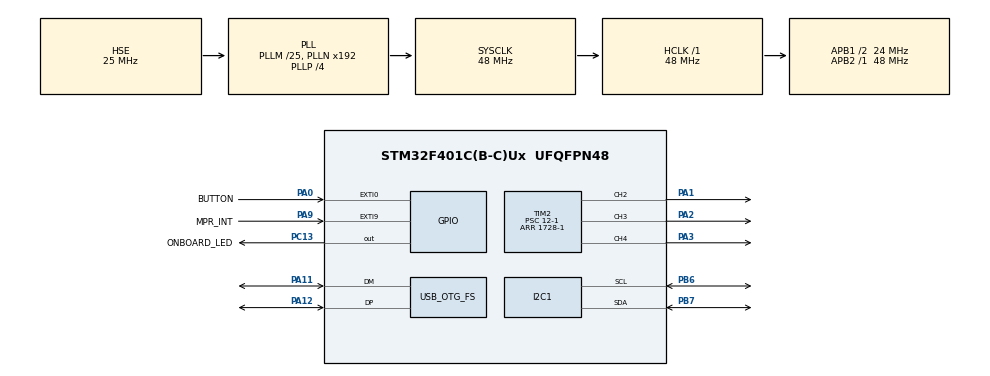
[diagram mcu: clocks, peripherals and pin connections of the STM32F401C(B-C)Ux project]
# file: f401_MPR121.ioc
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I2C1.I2C_Mode=I2C_Fast
Mcu.Family=STM32F4
Mcu.Name=STM32F401C(B-C)Ux
Mcu.Package=UFQFPN48
NVIC.EXTI0_IRQn=true\:0\:0\:false\:false\:true\:true\:true\:true
NVIC.EXTI9_5_IRQn=true\:0\:0\:false\:false\:true\:true\:true\:true
NVIC.I2C1_ER_IRQn=true\:0\:0\:false\:false\:true\:true\:true\:true
NVIC.I2C1_EV_IRQn=true\:0\:0\:false\:false\:true\:true\:true\:true
NVIC.OTG_FS_IRQn=true\:0\:0\:false\:false\:true\:true\:true\:true
NVIC.PriorityGroup=NVIC_PRIORITYGROUP_4
NVIC.TIM1_TRG_COM_TIM11_IRQn=true\:15\:0\:false\:false\:true\:false\:true\:true
NVIC.TIM2_IRQn=true\:0\:0\:false\:false\:true\:true\:true\:true
NVIC.TimeBase=TIM1_TRG_COM_TIM11_IRQn
NVIC.TimeBaseIP=TIM11
PA0-WKUP.GPIO_Label=BUTTON
PA0-WKUP.GPIO_ModeDefaultEXTI=GPIO_MODE_IT_FALLING
PA0-WKUP.GPIO_PuPd=GPIO_PULLUP
PA0-WKUP.Signal=GPXTI0
PA1.Signal=S_TIM2_CH2
PA11.Mode=Device_Only
PA11.Signal=USB_OTG_FS_DM
PA12.Mode=Device_Only
PA12.Signal=USB_OTG_FS_DP
PA2.Signal=S_TIM2_CH3
PA3.Signal=S_TIM2_CH4
PA9.GPIO_Label=MPR_INT
PA9.GPIO_ModeDefaultEXTI=GPIO_MODE_IT_FALLING
PA9.Signal=GPXTI9
PB6.Mode=I2C
PB6.Signal=I2C1_SCL
PB7.Mode=I2C
PB7.Signal=I2C1_SDA
PC13-ANTI_TAMP.GPIO_Label=ONBOARD_LED
PC13-ANTI_TAMP.Signal=GPIO_Output
PC14-OSC32_IN.Mode=LSE-External-Oscillator
PC14-OSC32_IN.Signal=RCC_OSC32_IN
PC15-OSC32_OUT.Mode=LSE-External-Oscillator
PC15-OSC32_OUT.Signal=RCC_OSC32_OUT
PH0\ -\ OSC_IN.Mode=HSE-External-Oscillator
PH0\ -\ OSC_IN.Signal=RCC_OSC_IN
PH1\ -\ OSC_OUT.Mode=HSE-External-Oscillator
PH1\ -\ OSC_OUT.Signal=RCC_OSC_OUT
ProjectManager.HeapSize=0x200
ProjectManager.StackSize=0x400
ProjectManager.TargetToolchain=STM32CubeIDE
RCC.48MHZClocksFreq_Value=48000000
RCC.AHBFreq_Value=48000000
RCC.APB1CLKDivider=RCC_HCLK_DIV2
RCC.APB1Freq_Value=24000000
RCC.APB1TimFreq_Value=48000000
RCC.APB2Freq_Value=48000000
RCC.APB2TimFreq_Value=48000000
RCC.CortexFreq_Value=48000000
RCC.HCLKFreq_Value=48000000
RCC.HSE_VALUE=25000000
RCC.HSI_VALUE=16000000
RCC.PLLM=25
RCC.PLLP=RCC_PLLP_DIV4
RCC.SYSCLKFreq_VALUE=48000000
RCC.SYSCLKSource=RCC_SYSCLKSOURCE_PLLCLK
RCC.VCOOutputFreq_Value=192000000
SH.S_TIM2_CH2.0=TIM2_CH2,PWM Generation2 CH2
SH.S_TIM2_CH3.0=TIM2_CH3,PWM Generation3 CH3
SH.S_TIM2_CH4.0=TIM2_CH4,PWM Generation4 CH4
TIM2.Channel-PWM\ Generation2\ CH2=TIM_CHANNEL_2
TIM2.Channel-PWM\ Generation3\ CH3=TIM_CHANNEL_3
TIM2.Channel-PWM\ Generation4\ CH4=TIM_CHANNEL_4
TIM2.Period=1728-1
TIM2.Prescaler=12-1
TIM2.Pulse-PWM\ Generation2\ CH2=500
USB_DEVICE.CLASS_NAME_FS=CDC
USB_DEVICE.PRODUCT_STRING_CDC_FS=STM32 VCP 
USB_DEVICE.VirtualMode=Cdc
USB_DEVICE.VirtualModeFS=Cdc_FS
USB_OTG_FS.VirtualMode=Device_Only
VP_SYS_VS_tim11.Mode=TIM11
VP_TIM2_VS_ClockSourceINT.Mode=Internal
VP_USB_DEVICE_VS_USB_DEVICE_CDC_FS.Mode=CDC_FS
board=custom

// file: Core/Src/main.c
/* USER CODE BEGIN Header */
/**
  ******************************************************************************
  * @file           : main.c
  * @brief          : Main program body
  ******************************************************************************
  * @attention
  *
  * Copyright (c) 2022 STMicroelectronics.
  * All rights reserved.
  *
  * This software is licensed under terms that can be found in the LICENSE file
  * in the root directory of this software component.
  * If no LICENSE file comes with this software, it is provided AS-IS.
  *
  ******************************************************************************
  */
/* USER CODE END Header */
#include "main.h"
#include "usb_device.h"

/* USER CODE BEGIN Includes */
#include "usbd_cdc_if.h"
#include <stdio.h>
#include <string.h>
#include "MPR121.h"
/* USER CODE END Includes */

/* USER CODE BEGIN PD */
#define BYTE_TO_BINARY_PATTERN "%c%c%c%c%c%c%c%c"
#define BYTE_TO_BINARY(byte)  \
  (byte & 0x80 ? '1' : '0'), \
  (byte & 0x40 ? '1' : '0'), \
  (byte & 0x20 ? '1' : '0'), \
  (byte & 0x10 ? '1' : '0'), \
  (byte & 0x08 ? '1' : '0'), \
  (byte & 0x04 ? '1' : '0'), \
  (byte & 0x02 ? '1' : '0'), \
  (byte & 0x01 ? '1' : '0')

#define UINT16_T_TO_BINARY_PATTERN "%c%c%c%c%c%c%c%c%c%c%c%c%c%c%c%c"
#define UINT16_T_TO_BINARY(byte)  \
  (byte & 0x8000 ? '1' : '0'), \
  (byte & 0x4000 ? '1' : '0'), \
  (byte & 0x2000 ? '1' : '0'), \
  (byte & 0x1000 ? '1' : '0'), \
  (byte & 0x0800 ? '1' : '0'), \
  (byte & 0x0400 ? '1' : '0'), \
  (byte & 0x0200 ? '1' : '0'), \
  (byte & 0x0100 ? '1' : '0'),  \
  (byte & 0x0080 ? '1' : '0'), \
  (byte & 0x0040 ? '1' : '0'), \
  (byte & 0x0020 ? '1' : '0'), \
  (byte & 0x0010 ? '1' : '0'), \
  (byte & 0x0008 ? '1' : '0'), \
  (byte & 0x0004 ? '1' : '0'), \
  (byte & 0x0002 ? '1' : '0'), \
  (byte & 0x0001 ? '1' : '0')

#define TIME_OF_HOLD 600
/* USER CODE END PD */

I2C_HandleTypeDef hi2c1;

TIM_HandleTypeDef htim2;

/* USER CODE BEGIN PV */
enum {
	MODE_OFF,
	MODE_PULSE,
	MODE_STATIC,
	MODE_WHITE,
	MODE_SET_BRIGHTNESS
}modes;
uint8_t click = 0, double_click = 0, hold = 0;
volatile reset_mpr = 0;
/* USER CODE END PV */

void SystemClock_Config(void);
static void MX_GPIO_Init(void);
static void MX_I2C1_Init(void);
static void MX_TIM2_Init(void);
/* USER CODE BEGIN PFP */
int __io_putchar(int ch)
{
	ITM_SendChar(ch);
	return(ch);
}

int _write(int file, char *ptr, int len)
 {
	int DataIdx;
	for (DataIdx = 0; DataIdx < len; DataIdx++)
	{
		__io_putchar(*ptr++);
	}
	return len;
 }

void read_buttons();
/* USER CODE END PFP */

int main(void)
{

  /* MCU Configuration--------------------------------------------------------*/

  /* Reset of all peripherals, Initializes the Flash interface and the Systick. */
  HAL_Init();

  /* Configure the system clock */
  SystemClock_Config();

  /* Initialize all configured peripherals */
  MX_GPIO_Init();
  MX_I2C1_Init();
  MX_USB_DEVICE_Init();
  MX_TIM2_Init();
  /* USER CODE BEGIN 2 */
  HAL_TIM_Base_Start(&htim2);
  TIM2 -> CCR2 = 900;
  HAL_TIM_PWM_Start(&htim2, TIM_CHANNEL_2);
  HAL_TIM_PWM_Start(&htim2, TIM_CHANNEL_3);
  HAL_TIM_PWM_Start(&htim2, TIM_CHANNEL_4);

  char usb_buff[48] = "\r\n=====Start MPR121=======\r\n";
  CDC_Transmit_FS(usb_buff, strlen(usb_buff));
  //printf(usb_buff);
  MPR121_init();
  /* USER CODE END 2 */

  /* Infinite loop */
  while (1)
  {

    /* USER CODE BEGIN 3 */
	  static uint16_t pwm_status = 0; //Brightness of red led (channel 2, PA1) to pulse mode of LED
	  static uint32_t timer_usb_write = 0,  timer_pwm = 0;
	  static uint8_t mode = 0;//mode of LED
	  if (reset_mpr == 1){
		  reset_mpr = 0;
		  MPR121_reset();
		  char res_buff = "Reset the module\r\n";
		  CDC_Transmit_FS(res_buff, sizeof(res_buff));
		  HAL_Delay(5);
		  MPR121_init();
	  }
	  read_buttons();

	  /*=====Choose of led's mode======*/
	  switch(mode){
		  case MODE_OFF: {
			  /*=====OFF all leds===*/
			  TIM2->CCR2 = 0;
			  TIM2->CCR3 = 0;
			  TIM2->CCR4 = 0;
			  HAL_GPIO_WritePin(GPIOA, GPIO_PIN_1 | GPIO_PIN_2 | GPIO_PIN_3, GPIO_PIN_RESET);
		  }break;
		  case MODE_PULSE:{
			  /*=====Pulse of red led (PA1)=====*/
			  if(HAL_GetTick() - timer_pwm > 5){
		  			  if(++pwm_status > 1728) pwm_status = 0;
		  			  TIM2 -> CCR2 = pwm_status;
		  			  timer_pwm = HAL_GetTick();
			  }
		  }break;
		  case MODE_STATIC:{
			  /*=====On pink color=======*/
			  TIM2->CCR2 = 1200;
			  TIM2->CCR3 = 1700;
			  TIM2->CCR4 = 0;
		  }break;
		  case MODE_WHITE:{
			  /*=====On all leds without PWM=====*/
			  TIM2->CCR2 = 1727;
			  TIM2->CCR3 = 1727;
			  TIM2->CCR4 = 1727;
			  //HAL_GPIO_WritePin(GPIOA, GPIO_PIN_1 | GPIO_PIN_2 | GPIO_PIN_3, GPIO_PIN_SET);
		  }break;
		  case MODE_SET_BRIGHTNESS:{
		  		  /*=====On white with brightness=======*/
			  TIM2->CCR2 = 1200;
			  TIM2->CCR4 = 1700;
			  TIM2->CCR3 = 0;
		  }break;
		  /*=====If mode is improper, set mode as 0 (MODE_OFF)=======*/
		  default: mode = MODE_OFF; break;
	  }
	  /*=======Every 50 ms write data to USB======*/
	  if(HAL_GetTick() - timer_usb_write > 50){
		   	  /*make buffer for usb transceiver*/
		  	 uint16_t electrodes_status = MPR121_read_buttons_status();
		  	 sprintf(usb_buff, "Mode %d Electrodes: " UINT16_T_TO_BINARY_PATTERN"\r\n",mode, UINT16_T_TO_BINARY(electrodes_status));
		  	  //uint8_t buttons[12];
		  	  //MPR121_read_array_buttons(buttons);
		  	  //sprintf(usb_buff, "Mode: %d Status: %d %d %d %d | %d %d %d %d | %d %d %d %d\r\n",mode, buttons[0],buttons[1],buttons[2],buttons[3],buttons[4],buttons[5],buttons[6],buttons[7],buttons[8],buttons[9],buttons[10],buttons[11]);

		  CDC_Transmit_FS(usb_buff, strlen(usb_buff));//Transmit message to USB
		  timer_usb_write = HAL_GetTick();
	  }
	  if (mode != MODE_SET_BRIGHTNESS){
		  if (click){
			  mode++;
			  click = 0;
		  }
		  if (double_click){
			  mode = MODE_OFF;
			  double_click = 0;
		  }
		  if (hold){
			  mode = MODE_SET_BRIGHTNESS;
			  hold = 0;
		  }
	  }else{
		  if (click){
		  			  mode++;
		  			  click = 0;
		  }
		  if (double_click){
		  	  mode = MODE_OFF;
		  	  double_click = 0;
		  }
		  hold = 0;
		  uint16_t electrodes_status = MPR121_read_buttons_status();

	  }

	  //HAL_Delay(10);
  }
  /* USER CODE END 3 */
}

void SystemClock_Config(void)
{
  RCC_OscInitTypeDef RCC_OscInitStruct = {0};
  RCC_ClkInitTypeDef RCC_ClkInitStruct = {0};

  /** Configure the main internal regulator output voltage
  */
  __HAL_RCC_PWR_CLK_ENABLE();
  __HAL_PWR_VOLTAGESCALING_CONFIG(PWR_REGULATOR_VOLTAGE_SCALE2);

  /** Initializes the RCC Oscillators according to the specified parameters
  * in the RCC_OscInitTypeDef structure.
  */
  RCC_OscInitStruct.OscillatorType = RCC_OSCILLATORTYPE_HSE;
  RCC_OscInitStruct.HSEState = RCC_HSE_ON;
  RCC_OscInitStruct.PLL.PLLState = RCC_PLL_ON;
  RCC_OscInitStruct.PLL.PLLSource = RCC_PLLSOURCE_HSE;
  RCC_OscInitStruct.PLL.PLLM = 25;
  RCC_OscInitStruct.PLL.PLLN = 192;
  RCC_OscInitStruct.PLL.PLLP = RCC_PLLP_DIV4;
  RCC_OscInitStruct.PLL.PLLQ = 4;
  if (HAL_RCC_OscConfig(&RCC_OscInitStruct) != HAL_OK)
  {
    Error_Handler();
  }

  /** Initializes the CPU, AHB and APB buses clocks
  */
  RCC_ClkInitStruct.ClockType = RCC_CLOCKTYPE_HCLK|RCC_CLOCKTYPE_SYSCLK
                              |RCC_CLOCKTYPE_PCLK1|RCC_CLOCKTYPE_PCLK2;
  RCC_ClkInitStruct.SYSCLKSource = RCC_SYSCLKSOURCE_PLLCLK;
  RCC_ClkInitStruct.AHBCLKDivider = RCC_SYSCLK_DIV1;
  RCC_ClkInitStruct.APB1CLKDivider = RCC_HCLK_DIV2;
  RCC_ClkInitStruct.APB2CLKDivider = RCC_HCLK_DIV1;

  if (HAL_RCC_ClockConfig(&RCC_ClkInitStruct, FLASH_LATENCY_1) != HAL_OK)
  {
    Error_Handler();
  }
}

static void MX_I2C1_Init(void)
{

  hi2c1.Instance = I2C1;
  hi2c1.Init.ClockSpeed = 400000;
  hi2c1.Init.DutyCycle = I2C_DUTYCYCLE_2;
  hi2c1.Init.OwnAddress1 = 0;
  hi2c1.Init.AddressingMode = I2C_ADDRESSINGMODE_7BIT;
  hi2c1.Init.DualAddressMode = I2C_DUALADDRESS_DISABLE;
  hi2c1.Init.OwnAddress2 = 0;
  hi2c1.Init.GeneralCallMode = I2C_GENERALCALL_DISABLE;
  hi2c1.Init.NoStretchMode = I2C_NOSTRETCH_DISABLE;
  if (HAL_I2C_Init(&hi2c1) != HAL_OK)
  {
    Error_Handler();
  }

}

static void MX_TIM2_Init(void)
{

  TIM_ClockConfigTypeDef sClockSourceConfig = {0};
  TIM_MasterConfigTypeDef sMasterConfig = {0};
  TIM_OC_InitTypeDef sConfigOC = {0};

  htim2.Instance = TIM2;
  htim2.Init.Prescaler = 12-1;
  htim2.Init.CounterMode = TIM_COUNTERMODE_UP;
  htim2.Init.Period = 1728-1;
  htim2.Init.ClockDivision = TIM_CLOCKDIVISION_DIV1;
  htim2.Init.AutoReloadPreload = TIM_AUTORELOAD_PRELOAD_DISABLE;
  if (HAL_TIM_Base_Init(&htim2) != HAL_OK)
  {
    Error_Handler();
  }
  sClockSourceConfig.ClockSource = TIM_CLOCKSOURCE_INTERNAL;
  if (HAL_TIM_ConfigClockSource(&htim2, &sClockSourceConfig) != HAL_OK)
  {
    Error_Handler();
  }
  if (HAL_TIM_PWM_Init(&htim2) != HAL_OK)
  {
    Error_Handler();
  }
  sMasterConfig.MasterOutputTrigger = TIM_TRGO_RESET;
  sMasterConfig.MasterSlaveMode = TIM_MASTERSLAVEMODE_DISABLE;
  if (HAL_TIMEx_MasterConfigSynchronization(&htim2, &sMasterConfig) != HAL_OK)
  {
    Error_Handler();
  }
  sConfigOC.OCMode = TIM_OCMODE_PWM1;
  sConfigOC.Pulse = 500;
  sConfigOC.OCPolarity = TIM_OCPOLARITY_HIGH;
  sConfigOC.OCFastMode = TIM_OCFAST_DISABLE;
  if (HAL_TIM_PWM_ConfigChannel(&htim2, &sConfigOC, TIM_CHANNEL_2) != HAL_OK)
  {
    Error_Handler();
  }
  sConfigOC.Pulse = 0;
  if (HAL_TIM_PWM_ConfigChannel(&htim2, &sConfigOC, TIM_CHANNEL_3) != HAL_OK)
  {
    Error_Handler();
  }
  if (HAL_TIM_PWM_ConfigChannel(&htim2, &sConfigOC, TIM_CHANNEL_4) != HAL_OK)
  {
    Error_Handler();
  }
  HAL_TIM_MspPostInit(&htim2);

}

static void MX_GPIO_Init(void)
{
  GPIO_InitTypeDef GPIO_InitStruct = {0};

  /* GPIO Ports Clock Enable */
  __HAL_RCC_GPIOC_CLK_ENABLE();
  __HAL_RCC_GPIOH_CLK_ENABLE();
  __HAL_RCC_GPIOA_CLK_ENABLE();
  __HAL_RCC_GPIOB_CLK_ENABLE();

  /*Configure GPIO pin Output Level */
  HAL_GPIO_WritePin(ONBOARD_LED_GPIO_Port, ONBOARD_LED_Pin, GPIO_PIN_RESET);

  /*Configure GPIO pin : ONBOARD_LED_Pin */
  GPIO_InitStruct.Pin = ONBOARD_LED_Pin;
  GPIO_InitStruct.Mode = GPIO_MODE_OUTPUT_PP;
  GPIO_InitStruct.Pull = GPIO_NOPULL;
  GPIO_InitStruct.Speed = GPIO_SPEED_FREQ_LOW;
  HAL_GPIO_Init(ONBOARD_LED_GPIO_Port, &GPIO_InitStruct);

  /*Configure GPIO pin : BUTTON_Pin */
  GPIO_InitStruct.Pin = BUTTON_Pin;
  GPIO_InitStruct.Mode = GPIO_MODE_IT_FALLING;
  GPIO_InitStruct.Pull = GPIO_PULLUP;
  HAL_GPIO_Init(BUTTON_GPIO_Port, &GPIO_InitStruct);

  /*Configure GPIO pin : MPR_INT_Pin */
  GPIO_InitStruct.Pin = MPR_INT_Pin;
  GPIO_InitStruct.Mode = GPIO_MODE_IT_FALLING;
  GPIO_InitStruct.Pull = GPIO_NOPULL;
  HAL_GPIO_Init(MPR_INT_GPIO_Port, &GPIO_InitStruct);

  /* EXTI interrupt init*/
  HAL_NVIC_SetPriority(EXTI0_IRQn, 0, 0);
  HAL_NVIC_EnableIRQ(EXTI0_IRQn);

  HAL_NVIC_SetPriority(EXTI9_5_IRQn, 0, 0);
  HAL_NVIC_EnableIRQ(EXTI9_5_IRQn);

}

/* USER CODE BEGIN 4 */
void HAL_GPIO_EXTI_Callback(uint16_t GPIO_Pin){
	if (GPIO_Pin == MPR_INT_Pin){
		/*Put your code to this part to processing of interrupt from MPR121*/
		HAL_GPIO_TogglePin(ONBOARD_LED_GPIO_Port, ONBOARD_LED_Pin);
	}
	if (GPIO_Pin == BUTTON_Pin){
		reset_mpr = 1;
		HAL_GPIO_TogglePin(ONBOARD_LED_GPIO_Port, ONBOARD_LED_Pin);

	}
}
void read_buttons(){
	  /*====Every tick check the connection to chip=======*/
	  //uint8_t connection_status = MPR121_check_conection();
	  static uint32_t timer_last_click = 0,  timer_press = 0, timer_release = 0; //different timers to periodical action
	  /*if connection is ok*/
	  //if (connection_status == HAL_OK){
		uint16_t electrodes_status = MPR121_read_buttons_status(); //read buttons status as uint16_t
	  	static uint8_t last_buttons_status = 0;	//variable to save last status sensor panel, need to definition of click and press
	  	/*This if is true, when panel is pressed */
	  	if (electrodes_status != 0 && last_buttons_status == 0){
	  		timer_press = HAL_GetTick();
	  		last_buttons_status = 1;
	  	}
	  	/*This if is true, when panel is released */
	  	if (electrodes_status == 0 && last_buttons_status == 1){
	  		timer_release = HAL_GetTick();
	  		/*Click and hold if*/
	  		if (timer_release - timer_press > TIME_OF_HOLD){//hold
	  			hold++;
	  		}else{//click
	  			if(timer_release - timer_last_click > 500){
	  				click++;
	  		  	}else{
	  		  		double_click++;
	  		  	}
	  				timer_last_click = timer_release;
	  		  	}
	  		  	last_buttons_status = 0;
	  	}
	/*  }else{//if connection is broken
		  MPR121_init();
		  char error_buff[16];
		  sprintf(error_buff, "Error: %d\r\n", connection_status);//make buffer with error code
		  CDC_Transmit_FS(error_buff, strlen(error_buff));
	  }
	  */
}
/* USER CODE END 4 */

void HAL_TIM_PeriodElapsedCallback(TIM_HandleTypeDef *htim)
{
  if (htim->Instance == TIM11) {
    HAL_IncTick();
  }
}

void Error_Handler(void)
{
  __disable_irq();
  while (1)
  {
  }
}
